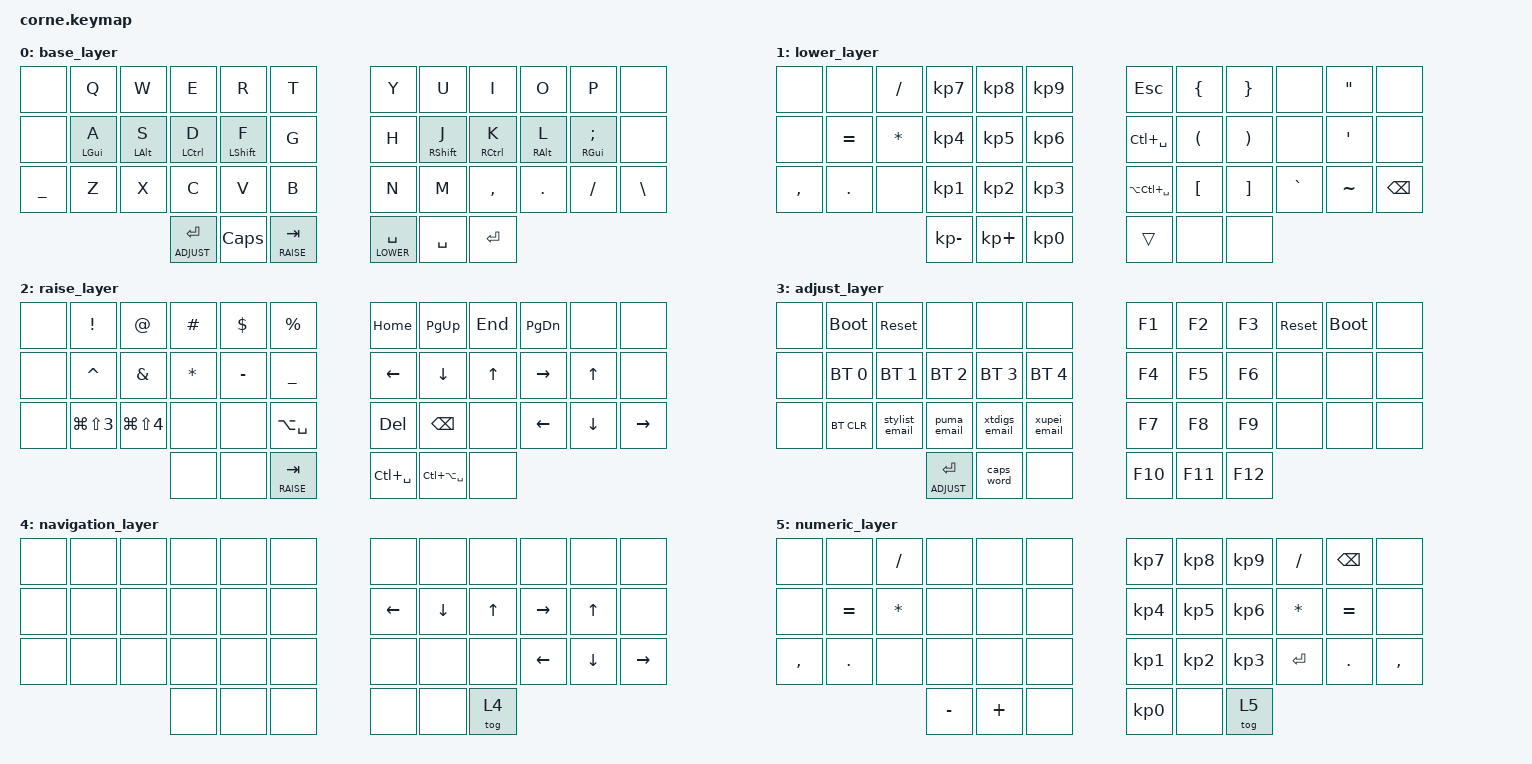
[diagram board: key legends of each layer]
#include <behaviors.dtsi>
#include <dt-bindings/zmk/bt.h>
#include <dt-bindings/zmk/keys.h>

#define BASE   0
#define LOWER  1
#define RAISE  2
#define ADJUST 3
#define NUMERIC 4

&mt {
    label = "HOMEROW_MODS";
    compatible = "zmk,behavior-hold-tap";
    flavor = "tap-preferred";
    quick-tap-ms = <125>;
    tapping-term-ms = <200>;
};

&lt {
    tapping-term-ms = <240>;
    flavor = "balanced";
    quick-tap-ms = <150>;
};

/ {
    conditional_layers { compatible = "zmk,conditional-layers"; };

    combos {
        compatible = "zmk,combos";

        enter_right_combo {
            bindings = <&kp ENTER>;
            key-positions = <19 20 21>;
            timeout-ms = <70>;
            require-prior-idle-ms = <100>;
        };

        layer4_tog {
            bindings = <&tog 4>;
            key-positions = <8 7 9>;
        };

        layer5_tog {
            bindings = <&tog 5>;
            key-positions = <31 32 33>;
        };
    };

    behaviors {
        stylist_email: stylist_email {
            compatible = "zmk,behavior-macro";
            #binding-cells = <0>;
            bindings = <&none &kp S &kp DOT &kp S &kp T &kp Y &kp L &kp I &kp S &kp T &kp AT &kp G &kp M &kp A &kp I &kp L &kp DOT &kp C &kp O &kp M>;
            label = "STYLIST_EMAIL";
        };

        xupei_email: xupei_email {
            compatible = "zmk,behavior-macro";
            #binding-cells = <0>;
            bindings = <&none &kp X &kp U &kp P &kp E &kp I &kp AT &kp M &kp E &kp DOT &kp C &kp O &kp M>;
            label = "XUPEI_EMAIL";
        };

        xtdigs_email: xtdigs_email {
            compatible = "zmk,behavior-macro";
            #binding-cells = <0>;
            bindings = <&none &kp X &kp T &kp D &kp I &kp G &kp N8 &kp N3 &kp S &kp N9 &kp AT &kp G &kp M &kp A &kp I &kp L &kp DOT &kp C &kp O &kp M>;
            label = "XTDIGS_EMAIL";
        };

        puma_email: puma_email {
            compatible = "zmk,behavior-macro";
            #binding-cells = <0>;
            bindings = <&none &kp P &kp U &kp M &kp A &kp N1 &kp N8 &kp N9 &kp N6 &kp N1 &kp AT &kp G &kp M &kp A &kp I &kp L &kp DOT &kp C &kp O &kp M>;
            label = "PUMA_EMAIL";
        };

        caps_word: caps_word {
            compatible = "zmk,behavior-caps-word";
            label = "CAPS_WORD";
            #binding-cells = <0>;
            continue-list = <UNDERSCORE MINUS BACKSPACE DELETE>;
            mods = <(MOD_LSFT|MOD_RSFT)>;
        };
    };

    macros {
    };

    keymap {
        compatible = "zmk,keymap";

        base_layer {
            bindings = <
&none           &kp Q       &kp W       &kp E             &kp R        &kp T            &kp Y            &kp U        &kp I        &kp O       &kp P          &none
&none           &mt LGUI A  &mt LALT S  &mt LCTRL D       &mt LSHFT F  &kp G            &kp H            &mt RSHFT J  &mt RCTRL K  &mt RALT L  &mt RGUI SEMI  &none
&kp UNDERSCORE  &kp Z       &kp X       &kp C             &kp V        &kp B            &kp N            &kp M        &kp COMMA    &kp DOT     &kp FSLH       &kp BSLH
                                        &lt ADJUST ENTER  &kp CAPS     &lt RAISE TAB    &lt LOWER SPACE  &kp SPACE    &kp ENTER
            >;
        };

        lower_layer {
            bindings = <
&none      &none      &kp SLASH  &kp KP_N7     &kp KP_N8    &kp KP_N9    &kp ESC            &kp LBRC  &kp RBRC  &none      &kp DQT    &none
&none      &kp EQUAL  &kp ASTRK  &kp KP_N4     &kp KP_N5    &kp KP_N6    &kp LC(SPACE)      &kp LPAR  &kp RPAR  &none      &kp SQT    &none
&kp COMMA  &kp DOT    &none      &kp KP_N1     &kp KP_N2    &kp KP_N3    &kp LA(LC(SPACE))  &kp LBKT  &kp RBKT  &kp GRAVE  &kp TILDE  &kp BACKSPACE
                                 &kp KP_MINUS  &kp KP_PLUS  &kp KP_N0    &trans             &none     &none
            >;
        };

        raise_layer {
            bindings = <
&none  &kp EXCL              &kp AT                &kp HASH   &kp DLLR   &kp PRCNT        &kp HOME       &kp PG_UP          &kp END  &kp PG_DN  &none     &none
&none  &kp CARET             &kp AMPS              &kp ASTRK  &kp MINUS  &kp UNDER        &kp LEFT       &kp DOWN           &kp UP   &kp RIGHT  &kp UP    &none
&none  &kp LG(LS(NUMBER_3))  &kp LG(LS(NUMBER_4))  &none      &none      &kp LA(SPACE)    &kp DEL        &kp BSPC           &none    &kp LEFT   &kp DOWN  &kp RIGHT
                                                   &none      &none      &lt RAISE TAB    &kp LC(SPACE)  &kp LC(LA(SPACE))  &none
            >;
        };

        adjust_layer {
            bindings = <
&none  &bootloader   &sys_reset      &none             &none          &none           &kp F1   &kp F2   &kp F3   &sys_reset  &bootloader  &none
&none  &bt BT_SEL 0  &bt BT_SEL 1    &bt BT_SEL 2      &bt BT_SEL 3   &bt BT_SEL 4    &kp F4   &kp F5   &kp F6   &none       &none        &none
&none  &bt BT_CLR    &stylist_email  &puma_email       &xtdigs_email  &xupei_email    &kp F7   &kp F8   &kp F9   &none       &none        &none
                                     &lt ADJUST ENTER  &caps_word     &none           &kp F10  &kp F11  &kp F12
            >;
        };

        navigation_layer {
            bindings = <
&none  &none  &none  &none  &none  &none    &none     &none     &none   &none      &none     &none
&none  &none  &none  &none  &none  &none    &kp LEFT  &kp DOWN  &kp UP  &kp RIGHT  &kp UP    &none
&none  &none  &none  &none  &none  &none    &none     &none     &none   &kp LEFT   &kp DOWN  &kp RIGHT
                     &none  &none  &none    &none     &none     &tog 4
            >;
        };

        numeric_layer {
            bindings = <
&none      &none      &kp SLASH  &none      &none     &none    &kp KP_NUMBER_7  &kp KP_NUMBER_8  &kp KP_NUMBER_9  &kp SLASH  &kp BACKSPACE  &none
&none      &kp EQUAL  &kp STAR   &none      &none     &none    &kp KP_NUMBER_4  &kp KP_NUMBER_5  &kp KP_NUMBER_6  &kp STAR   &kp EQUAL      &none
&kp COMMA  &kp DOT    &none      &none      &none     &none    &kp KP_NUMBER_1  &kp KP_NUMBER_2  &kp KP_NUMBER_3  &kp ENTER  &kp DOT        &kp COMMA
                                 &kp MINUS  &kp PLUS  &none    &kp KP_NUMBER_0  &none            &tog 5
            >;
        };
    };
};
